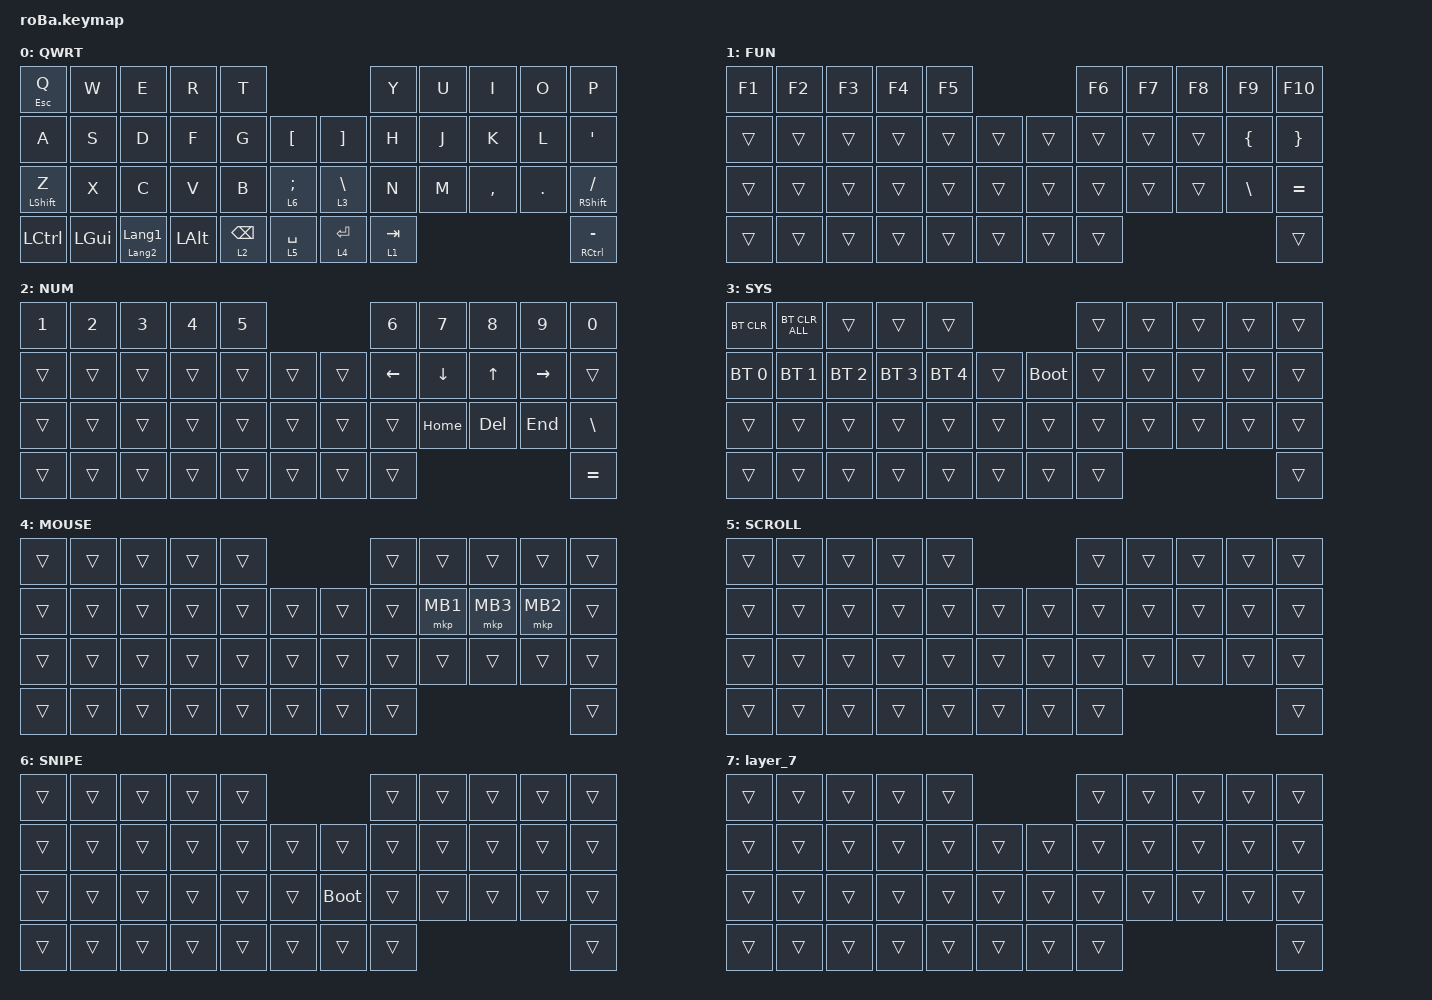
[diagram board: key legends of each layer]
#include <behaviors.dtsi>
#include <dt-bindings/zmk/bt.h>
#include <dt-bindings/zmk/keys.h>
#include <dt-bindings/zmk/pointing.h>

#define QWRT    0
#define NUM     1
#define SYS     2
#define FUN     3
#define MOUSE   4
#define SCROLL  5
#define SNIPE   6

&mt {
    flavor = "balanced";
    quick-tap-ms = <0>;
};

/ {
    combos {
        compatible = "zmk,combos";

        //       tab {
        //           bindings = <&kp TAB>;
        //           key-positions = <11 12>;
        //       };
        //       shift_tab {
        //           bindings = <&kp LS(TAB)>;
        //           key-positions = <12 13>;
        //       };
        //        muhennkann {
        //            bindings = <&to_layer_0 INT_MUHENKAN>;
        //            key-positions = <11 10>;
        //        };
        //       double_quotation {
        //           bindings = <&kp DOUBLE_QUOTES>;
        //           key-positions = <20 21>;
        //       };
        //       eq {
        //           bindings = <&kp EQUAL>;
        //           key-positions = <24 25>;
        //       };
    };

    macros {
        to_layer_0: to_layer_0 {
            compatible = "zmk,behavior-macro-one-param";
            #binding-cells = <1>;
            bindings = <&to 0 &macro_param_1to1 &kp MACRO_PLACEHOLDER>;
            label = "TO_LAYER_0";
        };
    };

    behaviors {
        lt_to_layer_0: lt_to_layer_0 {
            compatible = "zmk,behavior-hold-tap";
            label = "LAYER_TAP_TO_0";
            bindings = <&mo>, <&to_layer_0>;

            #binding-cells = <2>;
            tapping-term-ms = <200>;
        };
    };

    keymap {
        compatible = "zmk,keymap";

        QWRT {
            label = "QWRT";
            bindings = <
&mt ESCAPE Q      &kp W         &kp E                      &kp R         &kp T                                                     &kp Y      &kp U  &kp I      &kp O    &kp P
&kp A             &kp S         &kp D                      &kp F         &kp G            &kp LEFT_BRACKET      &kp RIGHT_BRACKET  &kp H      &kp J  &kp K      &kp L    &kp SQT
&mt LEFT_SHIFT Z  &kp X         &kp C                      &kp V         &kp B            &lt 6 SEMICOLON       &lt 3 BACKSLASH    &kp N      &kp M  &kp COMMA  &kp DOT  &mt RIGHT_SHIFT SLASH
&kp LCTRL         &kp LEFT_GUI  &mt LANGUAGE_2 LANGUAGE_1  &kp LEFT_ALT  &lt 2 BACKSPACE  &lt 5 SPACE           &lt 4 ENTER        &lt 1 TAB                             &mt RCTRL MINUS
            >;
        };

        FUNCTION {
            label = "FUN";
            bindings = <
&kp F1  &kp F2  &kp F3  &kp F4  &kp F5                      &kp F6  &kp F7  &kp F8  &kp F9          &kp F10
&trans  &trans  &trans  &trans  &trans  &trans      &trans  &trans  &trans  &trans  &kp LEFT_BRACE  &kp RIGHT_BRACE
&trans  &trans  &trans  &trans  &trans  &trans      &trans  &trans  &trans  &trans  &kp BACKSLASH   &kp EQUAL
&trans  &trans  &trans  &trans  &trans  &trans      &trans  &trans                                  &trans
            >;
        };

        NUM {
            label = "NUM";
            bindings = <
&kp NUMBER_1  &kp NUMBER_2  &kp NUMBER_3  &kp NUMBER_4  &kp N5                      &kp NUMBER_6  &kp N7    &kp N8        &kp N9           &kp NUMBER_0
&trans        &trans        &trans        &trans        &trans  &trans      &trans  &kp LEFT      &kp DOWN  &kp UP_ARROW  &kp RIGHT_ARROW  &trans
&trans        &trans        &trans        &trans        &trans  &trans      &trans  &trans        &kp HOME  &kp DEL       &kp END          &kp BACKSLASH
&trans        &trans        &trans        &trans        &trans  &trans      &trans  &trans                                                 &kp EQUAL
            >;
        };

        SYS {
            label = "SYS";
            bindings = <
&bt BT_CLR    &bt BT_CLR_ALL  &trans        &trans        &trans                                 &trans  &trans  &trans  &trans  &trans
&bt BT_SEL 0  &bt BT_SEL 1    &bt BT_SEL 2  &bt BT_SEL 3  &bt BT_SEL 4  &trans      &bootloader  &trans  &trans  &trans  &trans  &trans
&trans        &trans          &trans        &trans        &trans        &trans      &trans       &trans  &trans  &trans  &trans  &trans
&trans        &trans          &trans        &trans        &trans        &trans      &trans       &trans                          &trans
            >;
        };

        MOUSE {
            label = "MOUSE";
            bindings = <
&trans  &trans  &trans  &trans  &trans                      &trans  &trans    &trans    &trans    &trans
&trans  &trans  &trans  &trans  &trans  &trans      &trans  &trans  &mkp MB1  &mkp MB3  &mkp MB2  &trans
&trans  &trans  &trans  &trans  &trans  &trans      &trans  &trans  &trans    &trans    &trans    &trans
&trans  &trans  &trans  &trans  &trans  &trans      &trans  &trans                                &trans
            >;
        };

        SCROLL {
            label = "SCROLL";
            bindings = <
&trans  &trans  &trans  &trans  &trans                      &trans  &trans  &trans  &trans  &trans
&trans  &trans  &trans  &trans  &trans  &trans      &trans  &trans  &trans  &trans  &trans  &trans
&trans  &trans  &trans  &trans  &trans  &trans      &trans  &trans  &trans  &trans  &trans  &trans
&trans  &trans  &trans  &trans  &trans  &trans      &trans  &trans                          &trans
            >;
        };

        SNIPE {
            label = "SNIPE";
            bindings = <
&trans  &trans  &trans  &trans  &trans                           &trans  &trans  &trans  &trans  &trans
&trans  &trans  &trans  &trans  &trans  &trans      &trans       &trans  &trans  &trans  &trans  &trans
&trans  &trans  &trans  &trans  &trans  &trans      &bootloader  &trans  &trans  &trans  &trans  &trans
&trans  &trans  &trans  &trans  &trans  &trans      &trans       &trans                          &trans
            >;
        };

        layer_7 {
            bindings = <
&trans  &trans  &trans  &trans  &trans                      &trans  &trans  &trans  &trans  &trans
&trans  &trans  &trans  &trans  &trans  &trans      &trans  &trans  &trans  &trans  &trans  &trans
&trans  &trans  &trans  &trans  &trans  &trans      &trans  &trans  &trans  &trans  &trans  &trans
&trans  &trans  &trans  &trans  &trans  &trans      &trans  &trans                          &trans
            >;
        };
    };
};
